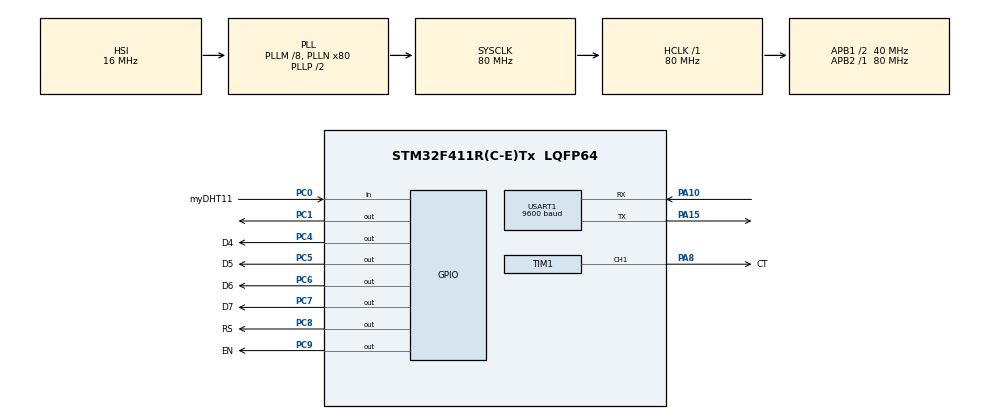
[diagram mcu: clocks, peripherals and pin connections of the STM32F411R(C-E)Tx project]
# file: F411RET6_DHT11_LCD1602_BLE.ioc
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Mcu.Family=STM32F4
Mcu.Name=STM32F411R(C-E)Tx
Mcu.Package=LQFP64
NVIC.PriorityGroup=NVIC_PRIORITYGROUP_4
NVIC.USART1_IRQn=true\:0\:0\:false\:false\:true\:true\:true\:true
PA10.Mode=Asynchronous
PA10.Signal=USART1_RX
PA13.Mode=Serial_Wire
PA13.Signal=SYS_JTMS-SWDIO
PA14.Mode=Serial_Wire
PA14.Signal=SYS_JTCK-SWCLK
PA15.Mode=Asynchronous
PA15.Signal=USART1_TX
PA8.GPIO_Label=CT
PA8.Signal=S_TIM1_CH1
PC0.GPIO_Label=myDHT11
PC0.GPIO_PuPd=GPIO_PULLUP
PC0.Signal=GPIO_Input
PC1.Signal=GPIO_Output
PC14-OSC32_IN.Mode=LSE-External-Oscillator
PC14-OSC32_IN.Signal=RCC_OSC32_IN
PC15-OSC32_OUT.Mode=LSE-External-Oscillator
PC15-OSC32_OUT.Signal=RCC_OSC32_OUT
PC4.GPIO_Label=D4
PC4.Signal=GPIO_Output
PC5.GPIO_Label=D5
PC5.Signal=GPIO_Output
PC6.GPIO_Label=D6
PC6.Signal=GPIO_Output
PC7.GPIO_Label=D7
PC7.Signal=GPIO_Output
PC8.GPIO_Label=RS
PC8.Signal=GPIO_Output
PC9.GPIO_Label=EN
PC9.Signal=GPIO_Output
PH0\ -\ OSC_IN.Mode=HSE-External-Oscillator
PH0\ -\ OSC_IN.Signal=RCC_OSC_IN
PH1\ -\ OSC_OUT.Mode=HSE-External-Oscillator
PH1\ -\ OSC_OUT.Signal=RCC_OSC_OUT
ProjectManager.HeapSize=0x200
ProjectManager.StackSize=0x400
ProjectManager.TargetToolchain=STM32CubeIDE
RCC.48MHZClocksFreq_Value=40000000
RCC.AHBFreq_Value=80000000
RCC.APB1CLKDivider=RCC_HCLK_DIV2
RCC.APB1Freq_Value=40000000
RCC.APB1TimFreq_Value=80000000
RCC.APB2Freq_Value=80000000
RCC.APB2TimFreq_Value=80000000
RCC.CortexFreq_Value=80000000
RCC.HCLKFreq_Value=80000000
RCC.HSE_VALUE=25000000
RCC.HSI_VALUE=16000000
RCC.PLLM=8
RCC.PLLN=80
RCC.SYSCLKFreq_VALUE=80000000
RCC.SYSCLKSource=RCC_SYSCLKSOURCE_PLLCLK
RCC.VCOOutputFreq_Value=160000000
SH.S_TIM1_CH1.0=TIM1_CH1,PWM Generation1 CH1
TIM1.Channel-PWM\ Generation1\ CH1=TIM_CHANNEL_1
TIM1.Period=1000
TIM1.Prescaler=79
USART1.BaudRate=9600
USART1.Mode=MODE_TX
USART1.VirtualMode=VM_ASYNC
VP_TIM1_VS_ClockSourceINT.Mode=Internal
board=custom

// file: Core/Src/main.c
/* USER CODE BEGIN Header */
/**
 ******************************************************************************
 * @file           : main.c
 * @brief          : Main program body
 ******************************************************************************
 * @attention
 *
 * Copyright (c) 2023 STMicroelectronics.
 * All rights reserved.
 *
 * This software is licensed under terms that can be found in the LICENSE file
 * in the root directory of this software component.
 * If no LICENSE file comes with this software, it is provided AS-IS.
 *
 ******************************************************************************
 */
/* USER CODE END Header */
#include "main.h"

/* USER CODE BEGIN Includes */
#include <stdio.h>
#include <string.h>
#include "lcd.h"
#include "DHT.h"

/* USER CODE END Includes */

TIM_HandleTypeDef htim1;

UART_HandleTypeDef huart1;

/* USER CODE BEGIN PV */
uint8_t TempHumi = 0;
uint8_t old_temp = 0;
uint8_t old_humi = 0;
uint8_t light_state = 1; // default: ON
uint16_t contrast_value = 500; // range: 0 - 1000
int loading = 600;

/* USER CODE END PV */

void SystemClock_Config(void);
static void MX_GPIO_Init(void);
static void MX_USART1_UART_Init(void);
static void MX_TIM1_Init(void);

int main(void)
{

  /* MCU Configuration--------------------------------------------------------*/

  /* Reset of all peripherals, Initializes the Flash interface and the Systick. */
  HAL_Init();

  /* Configure the system clock */
  SystemClock_Config();

  /* Initialize all configured peripherals */
  MX_GPIO_Init();
  MX_USART1_UART_Init();
  MX_TIM1_Init();
  /* USER CODE BEGIN 2 */
  HAL_TIM_PWM_Start(&htim1, TIM_CHANNEL_1);
  TIM1->CCR1 = contrast_value; // tao do tuong phan cho lcd
  HAL_GPIO_WritePin(GPIOC, GPIO_PIN_1, light_state); // bat sang den lcd
  LCD_init();
  LCD_setCursor(0, 0);
  LCD_printf("LOADING SEMINAR!");
  LCD_setCursor(1, 0);
  LCD_printf("[");
  LCD_setCursor(1, 15);
  LCD_printf("]");
  for (uint8_t i = 1; i < 15; i += 2)
  {
	  LCD_setCursor(1, i);
	  LCD_printf("==");
	  HAL_Delay(loading);
  }
  LCD_clear();
  static DHT_sensor livingRoom = {myDHT11_GPIO_Port, myDHT11_Pin, DHT11, GPIO_NOPULL}; // khoi tao luong du lieu (dataStream)

  /* USER CODE END 2 */

  /* Infinite loop */
    while (1)
    {

    /* USER CODE BEGIN 3 */
    	char msg[40]; // luu tru noi dung truyen tai
    	DHT_data d = DHT_getData(&livingRoom); // doc du lieu, in ra man hinh lcd

    	LCD_setCursor(0, 0);
    	LCD_printf("Temp: %2.1f ", d.temp);
    	LCD_sendChar(0xDF); // ky tu
    	LCD_printf("C"); // do C
    	LCD_setCursor(1, 0);
    	LCD_printf("Humi: %2.1f ", d.hum);
    	LCD_sendChar(0x25); // ky tu phan tram

    	sprintf(msg, "Bed room: Temp %2.1f°C, Hum %2.1f%%\r\n", d.temp, d.hum);
    	if (old_temp != d.temp || old_humi != d.hum) HAL_UART_Transmit(&huart1, (uint8_t*)msg, strlen(msg), 1000);

    	old_temp = d.temp;
    	old_humi = d.hum;
    }
  /* USER CODE END 3 */
}

void SystemClock_Config(void)
{
  RCC_OscInitTypeDef RCC_OscInitStruct = {0};
  RCC_ClkInitTypeDef RCC_ClkInitStruct = {0};

  /** Configure the main internal regulator output voltage
  */
  __HAL_RCC_PWR_CLK_ENABLE();
  __HAL_PWR_VOLTAGESCALING_CONFIG(PWR_REGULATOR_VOLTAGE_SCALE1);

  /** Initializes the RCC Oscillators according to the specified parameters
  * in the RCC_OscInitTypeDef structure.
  */
  RCC_OscInitStruct.OscillatorType = RCC_OSCILLATORTYPE_HSI;
  RCC_OscInitStruct.HSIState = RCC_HSI_ON;
  RCC_OscInitStruct.HSICalibrationValue = RCC_HSICALIBRATION_DEFAULT;
  RCC_OscInitStruct.PLL.PLLState = RCC_PLL_ON;
  RCC_OscInitStruct.PLL.PLLSource = RCC_PLLSOURCE_HSI;
  RCC_OscInitStruct.PLL.PLLM = 8;
  RCC_OscInitStruct.PLL.PLLN = 80;
  RCC_OscInitStruct.PLL.PLLP = RCC_PLLP_DIV2;
  RCC_OscInitStruct.PLL.PLLQ = 4;
  if (HAL_RCC_OscConfig(&RCC_OscInitStruct) != HAL_OK)
  {
    Error_Handler();
  }

  /** Initializes the CPU, AHB and APB buses clocks
  */
  RCC_ClkInitStruct.ClockType = RCC_CLOCKTYPE_HCLK|RCC_CLOCKTYPE_SYSCLK
                              |RCC_CLOCKTYPE_PCLK1|RCC_CLOCKTYPE_PCLK2;
  RCC_ClkInitStruct.SYSCLKSource = RCC_SYSCLKSOURCE_PLLCLK;
  RCC_ClkInitStruct.AHBCLKDivider = RCC_SYSCLK_DIV1;
  RCC_ClkInitStruct.APB1CLKDivider = RCC_HCLK_DIV2;
  RCC_ClkInitStruct.APB2CLKDivider = RCC_HCLK_DIV1;

  if (HAL_RCC_ClockConfig(&RCC_ClkInitStruct, FLASH_LATENCY_2) != HAL_OK)
  {
    Error_Handler();
  }
}

static void MX_TIM1_Init(void)
{

  TIM_ClockConfigTypeDef sClockSourceConfig = {0};
  TIM_MasterConfigTypeDef sMasterConfig = {0};
  TIM_OC_InitTypeDef sConfigOC = {0};
  TIM_BreakDeadTimeConfigTypeDef sBreakDeadTimeConfig = {0};

  htim1.Instance = TIM1;
  htim1.Init.Prescaler = 79;
  htim1.Init.CounterMode = TIM_COUNTERMODE_UP;
  htim1.Init.Period = 1000;
  htim1.Init.ClockDivision = TIM_CLOCKDIVISION_DIV1;
  htim1.Init.RepetitionCounter = 0;
  htim1.Init.AutoReloadPreload = TIM_AUTORELOAD_PRELOAD_DISABLE;
  if (HAL_TIM_Base_Init(&htim1) != HAL_OK)
  {
    Error_Handler();
  }
  sClockSourceConfig.ClockSource = TIM_CLOCKSOURCE_INTERNAL;
  if (HAL_TIM_ConfigClockSource(&htim1, &sClockSourceConfig) != HAL_OK)
  {
    Error_Handler();
  }
  if (HAL_TIM_PWM_Init(&htim1) != HAL_OK)
  {
    Error_Handler();
  }
  sMasterConfig.MasterOutputTrigger = TIM_TRGO_RESET;
  sMasterConfig.MasterSlaveMode = TIM_MASTERSLAVEMODE_DISABLE;
  if (HAL_TIMEx_MasterConfigSynchronization(&htim1, &sMasterConfig) != HAL_OK)
  {
    Error_Handler();
  }
  sConfigOC.OCMode = TIM_OCMODE_PWM1;
  sConfigOC.Pulse = 0;
  sConfigOC.OCPolarity = TIM_OCPOLARITY_HIGH;
  sConfigOC.OCNPolarity = TIM_OCNPOLARITY_HIGH;
  sConfigOC.OCFastMode = TIM_OCFAST_DISABLE;
  sConfigOC.OCIdleState = TIM_OCIDLESTATE_RESET;
  sConfigOC.OCNIdleState = TIM_OCNIDLESTATE_RESET;
  if (HAL_TIM_PWM_ConfigChannel(&htim1, &sConfigOC, TIM_CHANNEL_1) != HAL_OK)
  {
    Error_Handler();
  }
  sBreakDeadTimeConfig.OffStateRunMode = TIM_OSSR_DISABLE;
  sBreakDeadTimeConfig.OffStateIDLEMode = TIM_OSSI_DISABLE;
  sBreakDeadTimeConfig.LockLevel = TIM_LOCKLEVEL_OFF;
  sBreakDeadTimeConfig.DeadTime = 0;
  sBreakDeadTimeConfig.BreakState = TIM_BREAK_DISABLE;
  sBreakDeadTimeConfig.BreakPolarity = TIM_BREAKPOLARITY_HIGH;
  sBreakDeadTimeConfig.AutomaticOutput = TIM_AUTOMATICOUTPUT_DISABLE;
  if (HAL_TIMEx_ConfigBreakDeadTime(&htim1, &sBreakDeadTimeConfig) != HAL_OK)
  {
    Error_Handler();
  }
  HAL_TIM_MspPostInit(&htim1);

}

static void MX_USART1_UART_Init(void)
{

  huart1.Instance = USART1;
  huart1.Init.BaudRate = 9600;
  huart1.Init.WordLength = UART_WORDLENGTH_8B;
  huart1.Init.StopBits = UART_STOPBITS_1;
  huart1.Init.Parity = UART_PARITY_NONE;
  huart1.Init.Mode = UART_MODE_TX;
  huart1.Init.HwFlowCtl = UART_HWCONTROL_NONE;
  huart1.Init.OverSampling = UART_OVERSAMPLING_16;
  if (HAL_UART_Init(&huart1) != HAL_OK)
  {
    Error_Handler();
  }

}

static void MX_GPIO_Init(void)
{
  GPIO_InitTypeDef GPIO_InitStruct = {0};

  /* GPIO Ports Clock Enable */
  __HAL_RCC_GPIOC_CLK_ENABLE();
  __HAL_RCC_GPIOH_CLK_ENABLE();
  __HAL_RCC_GPIOA_CLK_ENABLE();

  /*Configure GPIO pin Output Level */
  HAL_GPIO_WritePin(GPIOC, GPIO_PIN_1|D4_Pin|D5_Pin|D6_Pin
                          |D7_Pin|RS_Pin|EN_Pin, GPIO_PIN_RESET);

  /*Configure GPIO pin : myDHT11_Pin */
  GPIO_InitStruct.Pin = myDHT11_Pin;
  GPIO_InitStruct.Mode = GPIO_MODE_INPUT;
  GPIO_InitStruct.Pull = GPIO_PULLUP;
  HAL_GPIO_Init(myDHT11_GPIO_Port, &GPIO_InitStruct);

  /*Configure GPIO pins : PC1 D4_Pin D5_Pin D6_Pin
                           D7_Pin RS_Pin EN_Pin */
  GPIO_InitStruct.Pin = GPIO_PIN_1|D4_Pin|D5_Pin|D6_Pin
                          |D7_Pin|RS_Pin|EN_Pin;
  GPIO_InitStruct.Mode = GPIO_MODE_OUTPUT_PP;
  GPIO_InitStruct.Pull = GPIO_NOPULL;
  GPIO_InitStruct.Speed = GPIO_SPEED_FREQ_LOW;
  HAL_GPIO_Init(GPIOC, &GPIO_InitStruct);

}

void Error_Handler(void)
{
    __disable_irq();
    while (1)
    {
    }
}
